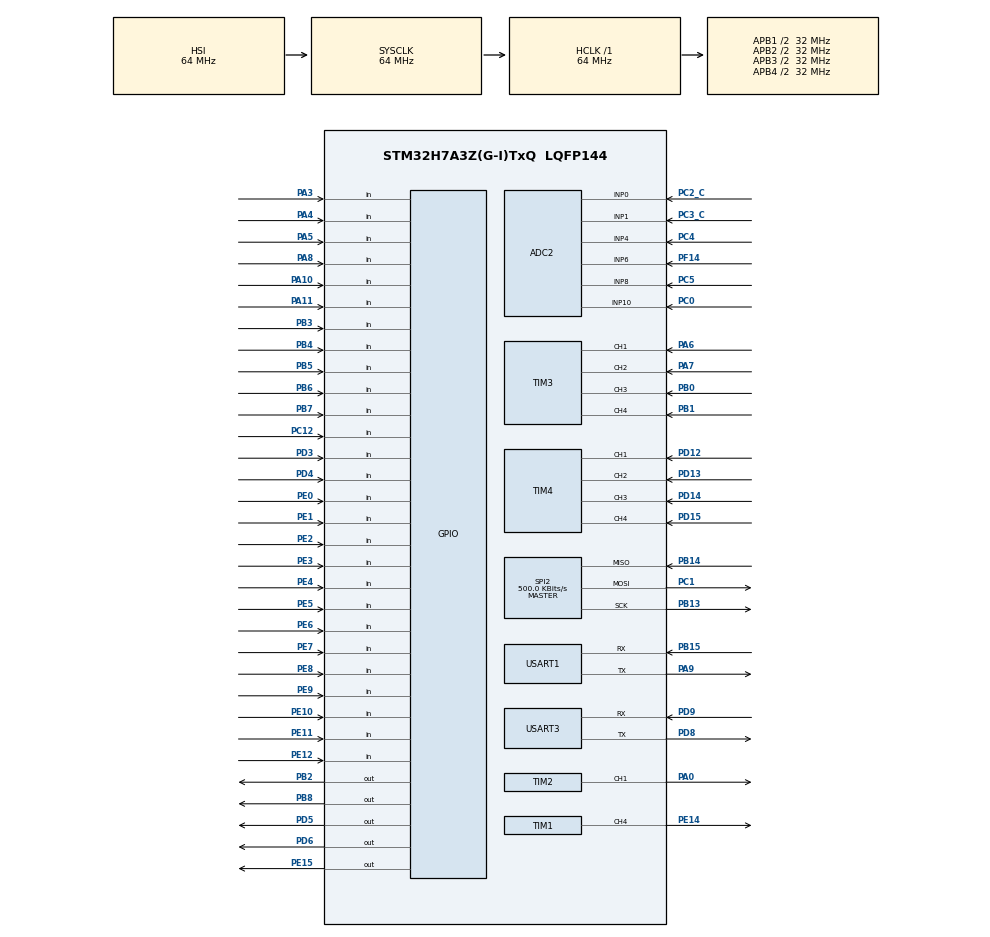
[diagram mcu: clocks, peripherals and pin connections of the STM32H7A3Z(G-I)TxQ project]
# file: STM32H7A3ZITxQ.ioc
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ADC2.Channel-0\#ChannelRegularConversion=ADC_CHANNEL_0
ADC2.NbrOfConversionFlag=1
ADC2.OffsetNumber-0\#ChannelRegularConversion=ADC_OFFSET_NONE
ADC2.OffsetSignedSaturation-0\#ChannelRegularConversion=DISABLE
ADC2.Rank-0\#ChannelRegularConversion=1
ADC2.SamplingTime-0\#ChannelRegularConversion=ADC_SAMPLETIME_1CYCLE_5
Mcu.Family=STM32H7
Mcu.Name=STM32H7A3Z(G-I)TxQ
Mcu.Package=LQFP144
NVIC.PriorityGroup=NVIC_PRIORITYGROUP_4
NVIC.TIM2_IRQn=true\:0\:0\:false\:false\:true\:true\:true
NVIC.TIM3_IRQn=true\:0\:0\:false\:false\:true\:true\:true
NVIC.TIM4_IRQn=true\:0\:0\:false\:false\:true\:true\:true
PA0.Signal=S_TIM2_CH1
PA10.Signal=GPIO_Input
PA11.Signal=GPIO_Input
PA13.Mode=Serial_Wire
PA13.Signal=DEBUG_JTMS-SWDIO
PA14.Mode=Serial_Wire
PA14.Signal=DEBUG_JTCK-SWCLK
PA3.Signal=GPIO_Input
PA4.Signal=GPIO_Input
PA5.Signal=GPIO_Input
PA6.Signal=S_TIM3_CH1
PA7.Signal=S_TIM3_CH2
PA8.Signal=GPIO_Input
PA9.Mode=Asynchronous
PA9.Signal=USART1_TX
PB0.Signal=S_TIM3_CH3
PB1.Signal=S_TIM3_CH4
PB13.GPIO_Speed=GPIO_SPEED_FREQ_HIGH
PB13.Mode=Full_Duplex_Master
PB13.Signal=SPI2_SCK
PB14.GPIO_Speed=GPIO_SPEED_FREQ_HIGH
PB14.Mode=Full_Duplex_Master
PB14.Signal=SPI2_MISO
PB15.Mode=Asynchronous
PB15.Signal=USART1_RX
PB2.Signal=GPIO_Output
PB3.Signal=GPIO_Input
PB4.Signal=GPIO_Input
PB5.Signal=GPIO_Input
PB6.Signal=GPIO_Input
PB7.Signal=GPIO_Input
PB8.Signal=GPIO_Output
PC0.Signal=ADCx_INP10
PC1.GPIO_Speed=GPIO_SPEED_FREQ_HIGH
PC1.Mode=Full_Duplex_Master
PC1.Signal=SPI2_MOSI
PC12.Signal=GPIO_Input
PC2_C.Mode=IN0-Single-Ended
PC2_C.Signal=ADC2_INP0
PC3_C.Mode=IN1-Single-Ended
PC3_C.Signal=ADC2_INP1
PC4.Signal=ADCx_INP4
PC5.Signal=ADCx_INP8
PD12.Signal=S_TIM4_CH1
PD13.Signal=S_TIM4_CH2
PD14.Signal=S_TIM4_CH3
PD15.Signal=S_TIM4_CH4
PD3.Signal=GPIO_Input
PD4.Signal=GPIO_Input
PD5.Signal=GPIO_Output
PD6.Signal=GPIO_Output
PD8.Mode=Asynchronous
PD8.Signal=USART3_TX
PD9.Mode=Asynchronous
PD9.Signal=USART3_RX
PE0.Signal=GPIO_Input
PE1.Signal=GPIO_Input
PE10.Signal=GPIO_Input
PE11.Signal=GPIO_Input
PE12.Signal=GPIO_Input
PE14.Signal=S_TIM1_CH4
PE15.Signal=GPIO_Output
PE2.Signal=GPIO_Input
PE3.Signal=GPIO_Input
PE4.Signal=GPIO_Input
PE5.Signal=GPIO_Input
PE6.Signal=GPIO_Input
PE7.Signal=GPIO_Input
PE8.Signal=GPIO_Input
PE9.Signal=GPIO_Input
PF14.Mode=IN6-Single-Ended
PF14.Signal=ADC2_INP6
ProjectManager.HeapSize=0x200
ProjectManager.StackSize=0x400
ProjectManager.TargetToolchain=EWARM V8.32
RCC.ADCFreq_Value=128000000
RCC.APB1Freq_Value=32000000
RCC.APB2Freq_Value=32000000
RCC.APB3Freq_Value=32000000
RCC.APB4Freq_Value=32000000
RCC.CDPPRE=RCC_APB3_DIV2
RCC.CDPPRE1=RCC_APB1_DIV2
RCC.CDPPRE2=RCC_APB2_DIV2
RCC.CortexFreq_Value=64000000
RCC.DIVM1=4
RCC.DIVM2=4
RCC.DIVN1=8
RCC.DIVN2=8
RCC.DIVP2=1
RCC.DIVQ1=1
RCC.HCLKFreq_Value=64000000
RCC.PLL2FRACN=0
RCC.PLLFRACN=0
RCC.SRDPPRE=RCC_APB4_DIV2
RCC.SYSCLKFreq_VALUE=64000000
RCC.USBFreq_Value=128000000
SH.ADCx_INP10.0=ADC2_INP10,IN10-Single-Ended
SH.ADCx_INP4.0=ADC2_INP4,IN4-Single-Ended
SH.ADCx_INP8.0=ADC2_INP8,IN8-Single-Ended
SH.S_TIM1_CH4.0=TIM1_CH4,PWM Generation4 CH4
SH.S_TIM2_CH1.0=TIM2_CH1,PWM Generation1 CH1
SH.S_TIM3_CH1.0=TIM3_CH1,Input_Capture1_from_TI1
SH.S_TIM3_CH2.0=TIM3_CH2,Input_Capture2_from_TI2
SH.S_TIM3_CH3.0=TIM3_CH3,Input_Capture3_from_TI3
SH.S_TIM3_CH4.0=TIM3_CH4,Input_Capture4_from_TI4
SH.S_TIM4_CH1.0=TIM4_CH1,Input_Capture1_from_TI1
SH.S_TIM4_CH2.0=TIM4_CH2,Input_Capture2_from_TI2
SH.S_TIM4_CH3.0=TIM4_CH3,Input_Capture3_from_TI3
SH.S_TIM4_CH4.0=TIM4_CH4,Input_Capture4_from_TI4
SPI2.BaudRatePrescaler=SPI_BAUDRATEPRESCALER_256
SPI2.CalculateBaudRate=500.0 KBits/s
SPI2.DataSize=SPI_DATASIZE_15BIT
SPI2.Direction=SPI_DIRECTION_2LINES
SPI2.Mode=SPI_MODE_MASTER
SPI2.VirtualType=VM_MASTER
TIM1.Channel-PWM\ Generation4\ CH4=TIM_CHANNEL_4
TIM1.Period=32
TIM1.Pulse-PWM\ Generation4\ CH4=16
TIM2.Channel-PWM\ Generation1\ CH1=TIM_CHANNEL_1
TIM2.Period=4000
TIM2.Pulse-PWM\ Generation1\ CH1=100
TIM3.Channel-Input_Capture1_from_TI1=TIM_CHANNEL_1
TIM3.Channel-Input_Capture2_from_TI2=TIM_CHANNEL_2
TIM3.Channel-Input_Capture3_from_TI3=TIM_CHANNEL_3
TIM3.Channel-Input_Capture4_from_TI4=TIM_CHANNEL_4
TIM4.Channel-Input_Capture1_from_TI1=TIM_CHANNEL_1
TIM4.Channel-Input_Capture2_from_TI2=TIM_CHANNEL_2
TIM4.Channel-Input_Capture3_from_TI3=TIM_CHANNEL_3
TIM4.Channel-Input_Capture4_from_TI4=TIM_CHANNEL_4
USART1.FIFOMode=FIFOMODE_ENABLE
USART1.RXFIFOThreshold=RXFIFO_THRESHOLD_FULL
USART1.TXFIFOThreshold=TXFIFO_THRESHOLD_EMPTY
USART1.VirtualMode-Asynchronous=VM_ASYNC
USART3.VirtualMode-Asynchronous=VM_ASYNC
VP_ADC2_TempSens_Input.Mode=IN-TempSens
VP_ADC2_Vbat_Input.Mode=IN-Vbat
VP_ADC2_Vref_Input.Mode=IN-Vrefint
VP_TIM6_VS_ClockSourceINT.Mode=Enable_Timer
board=custom

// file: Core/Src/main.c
/* USER CODE BEGIN Header */
/**
  ******************************************************************************
  * @file           : main.c
  * @brief          : Main program body
  ******************************************************************************
  * @attention
  *
  * <h2><center>&copy; Copyright (c) 2021 STMicroelectronics.
  * All rights reserved.</center></h2>
  *
  * This software component is licensed by ST under BSD 3-Clause license,
  * the "License"; You may not use this file except in compliance with the
  * License. You may obtain a copy of the License at:
  *                        opensource.org/licenses/BSD-3-Clause
  *
  ******************************************************************************
  */
#include <stdio.h>
#include <string.h>
#include <stdbool.h>
/* USER CODE END Header */
#include "main.h"

/* USER CODE BEGIN PD */

#define ECOMILK_DEBUG           0
#if ECOMILK_DEBUG == 1
  #define DEBUG_PRINT           printf
#else
  #define DEBUG_PRINT
#endif
#define ECOMILK_DEBUG_TIMEOUT   10
#define ECOMILK_TIMEOUT         ECOMILK_DEBUG_TIMEOUT
#define ECOMILK_CMD_ON          1
#define ECOMILK_CMD_OFF         0
//__EFF_NW1    __DEPREC_PRINTF int stub(char const *fmt, ...)
//{}
//#define printf                  stub
/* USER CODE END PD */

/* USER CODE BEGIN PM */

//Inputs
#define	ACTUATOR_BACKWARD_COM_PORT      GPIOE
#define	ACTUATOR_BACKWARD_COM_PIN       GPIO_PIN_12
#define	ACTUATOR_FORWARD_COM_PORT       GPIOE
#define	ACTUATOR_FORWARD_COM_PIN        GPIO_PIN_11
#define	ROTATE_CW_COM_PORT              GPIOE
#define	ROTATE_CW_COM_PIN               GPIO_PIN_10
#define	ROTATE_CCW_COM_PORT             GPIOE
#define	ROTATE_CCW_COM_PIN              GPIO_PIN_9
#define	TILT_CCW_COM_PORT               GPIOE
#define	TILT_CCW_COM_PIN                GPIO_PIN_8
#define	TILT_CW_COM_PORT                GPIOE
#define	TILT_CW_COM_PIN                 GPIO_PIN_7
#define	MOTOR_Z_DOWN_COM_PORT           GPIOE
#define	MOTOR_Z_DOWN_COM_PIN            GPIO_PIN_6
#define	MOTOR_Z_UP_COM_PORT             GPIOE
#define	MOTOR_Z_UP_COM_PIN              GPIO_PIN_5
#define	ACTUATOR_Y_BACKWARD_COM_PORT    GPIOE
#define	ACTUATOR_Y_BACKWARD_COM_PIN     GPIO_PIN_4
#define	ACTUATOR_Y_FORWARD_COM_PORT     GPIOE
#define	ACTUATOR_Y_FORWARD_COM_PIN      GPIO_PIN_3
#define	X_BACKWARD_COM_PORT             GPIOE
#define	X_BACKWARD_COM_PIN              GPIO_PIN_2
#define	X_FORWARD_COM_PORT              GPIOE
#define	X_FORWARD_COM_PIN               GPIO_PIN_1
#define	MOTOR_FAILURE_PORT              GPIOE
#define	MOTOR_FAILURE_PIN               GPIO_PIN_0

//Outputs
#define	CS_N_PORT                       GPIOB
#define	CS_N_PIN                        GPIO_PIN_8
#define	NSLEEP_RESET_PORT               GPIOB
#define	NSLEEP_RESET_PIN                GPIO_PIN_2
#define	MOT_M1_PORT                     GPIOD
#define	MOT_M1_PIN                      GPIO_PIN_6
#define	MOT_M0_PORT                     GPIOD
#define	MOT_M0_PIN                      GPIO_PIN_5
#define	RST2FPGA_PORT                   GPIOE
#define	RST2FPGA_PIN                    GPIO_PIN_15
#define	MOT_M1_PORT                     GPIOD
#define	MOT_M1_PIN                      GPIO_PIN_6
#define	MOT_M0_PORT                     GPIOD
#define	MOT_M0_PIN                      GPIO_PIN_5

#define DIR_MOTOR_Z                             0
#define DIR_MOTOR_TILT                          1
#define DIR_MOTOR_ROTATE                        2
#define DIR_MOTOR_X                             3
#define DIR_MOTOR_1                             4
#define DIR_MOTOR_2                             5
#define DIR_MOTOR_Y                             6
#define DIR_MOTOR_SP_1                          7
#define DIR_MOTOR_END_AFFECTO                   8
#define DIR_MOTOR_END_AFFECTO_A_1_2_3_4         9

#define LIN_MOTOR_Y                             0
#define LIN_MOTOR_SP_1                          1
#define LIN_MOTOR_END_AFFECTO                   2
#define LIN_MOTOR_END_AFFECTO_2                 3
#define LIN_MOTOR_END_AFFECTO_3                 4
#define LIN_MOTOR_END_AFFECTO_4                 5

#define DEC0                                    12
#define DEC1                                    13
#define DEC2                                    14

/* USER CODE END PM */

ADC_HandleTypeDef hadc2;

SPI_HandleTypeDef hspi2;

TIM_HandleTypeDef htim1;
TIM_HandleTypeDef htim2;
TIM_HandleTypeDef htim3;
TIM_HandleTypeDef htim4;
TIM_HandleTypeDef htim6;

UART_HandleTypeDef huart1;
UART_HandleTypeDef huart3;

/* USER CODE BEGIN PV */

int a_encoder_z_sp_drive = 0;
int b_encoder_z_sp_drive = 0;
int a_encoder_x_sp_drive = 0;
int b_encoder_x_sp_drive = 0;

int b_encoder_tilt_sp_drive = 0;
int a_encoder_rotate_sp_drive = 0;
int b_encoder_rotate_sp_drive = 0;
int a_encoder_tilt_sp_drive = 0;

char pool_rx[20];
int pool_rx_idx = 0;
//volatile bool pool_rx_start = false;
uint8_t ecomilk[] = {'\r', '\n', 'E', 'C', 'O', 'M', 'I', 'L', 'K', '\r', '\n'};

/* USER CODE END PV */

void SystemClock_Config(void);
static void MX_GPIO_Init(void);
static void MX_ADC2_Init(void);
static void MX_SPI2_Init(void);
static void MX_TIM1_Init(void);
static void MX_TIM2_Init(void);
static void MX_TIM3_Init(void);
static void MX_TIM4_Init(void);
static void MX_USART1_UART_Init(void);
static void MX_USART3_UART_Init(void);
static void MX_TIM6_Init(void);
/* USER CODE BEGIN PFP */

//#if ECOMILK_DEBUG == 1
static void Cmd_UART_Rx();
//#endif
static void Cmd_SPI_Tx_16(uint16_t cmd);
static void Cmd_Actuator_Backward(bool state);
static void Cmd_Actuator_Forward(bool state);
static void Cmd_Rotate_CW(bool state);
static void Cmd_Rotate_CCW(bool state);
static void Cmd_Tilt_CCW(bool state);
static void Cmd_Tilt_CW(bool state);
static void Cmd_Motor_Z_Down(bool state);
static void Cmd_Motor_Z_Up(bool state);
static void Cmd_Actuator_Y_Backward(bool state);
static void Cmd_Actuator_Y_Forward(bool state);
static void Cmd_X_Backward(bool state);
static void Cmd_X_Forward(bool state);

/* USER CODE END PFP */

/* USER CODE BEGIN 0 */
/**
  * @brief  PWM Pulse finished callback in non-blocking mode
  * @param  htim TIM handle
  * @retval None
  */
void HAL_TIM_PWM_PulseFinishedCallback(TIM_HandleTypeDef *htim)
{
  uint32_t ccr1 = TIM2->CCR1;
  if(htim->Instance == TIM2)
  {
    if(ccr1 < 2000)
      htim->Instance->CCR1 = ccr1 + 20;
    else
    {
      HAL_TIM_PWM_Stop_IT(&htim2, TIM_CHANNEL_1);
      HAL_TIM_PWM_Start(&htim2, TIM_CHANNEL_1);
    }
  }
}

/**
  * @brief  Input Capture callback in non-blocking mode
  * @param  htim TIM IC handle
  * @retval None
  */
void HAL_TIM_IC_CaptureCallback(TIM_HandleTypeDef *htim)
{
  if(htim->Instance == TIM3)
  {
    if(htim->Channel == HAL_TIM_ACTIVE_CHANNEL_1)
      a_encoder_z_sp_drive++;
    else if(htim->Channel == HAL_TIM_ACTIVE_CHANNEL_2)
      b_encoder_z_sp_drive++;
    else if(htim->Channel == HAL_TIM_ACTIVE_CHANNEL_3)
      a_encoder_x_sp_drive++;
    else if(htim->Channel == HAL_TIM_ACTIVE_CHANNEL_4)
      b_encoder_x_sp_drive++;
  }
  if(htim->Instance == TIM4)
  {
    if(htim->Channel == HAL_TIM_ACTIVE_CHANNEL_1)
      b_encoder_tilt_sp_drive++;
    else if(htim->Channel == HAL_TIM_ACTIVE_CHANNEL_2)
      a_encoder_rotate_sp_drive++;
    else if(htim->Channel == HAL_TIM_ACTIVE_CHANNEL_3)
      b_encoder_rotate_sp_drive++;
    else if(htim->Channel == HAL_TIM_ACTIVE_CHANNEL_4)
      a_encoder_tilt_sp_drive++;
  }
}

static void Cmd_Actuator_Backward(bool state)
{
  if(state)
  {
    Cmd_SPI_Tx_16(0x00 | (0x01 << DEC0));
    Cmd_SPI_Tx_16(0x00 | (0x01 << LIN_MOTOR_SP_1) | (0x01 << DEC0) | (0x01 << DEC1));
  }
    //Cmd_SPI_Tx_32(0x00, 0x00 | (0x01 << DEC0), 0x00 | (0x01 << LIN_MOTOR_SP_1), 0x00 | (0x01 << DEC0) | (0x01 << DEC1));
  else
    Cmd_SPI_Tx_16(0x00 | (0x01 << DEC0) | (0x01 << DEC1));
}

static void Cmd_Actuator_Forward(bool state)
{
  if(state)
  {
    Cmd_SPI_Tx_16(0x00 | (1 << DIR_MOTOR_SP_1) | (1 << DEC0));
    Cmd_SPI_Tx_16(0x00 | (1 << LIN_MOTOR_SP_1) | (1 << DEC0) | (1 << DEC1));
  }
    //Cmd_SPI_Tx_32(0x00, 0x00 | (1 << DIR_MOTOR_SP_1) | (0x01 << DEC0), 0x00 | (0x01 << LIN_MOTOR_SP_1), 0x00 | (0x01 << DEC0) | (0x01 << DEC1));
  else
    Cmd_SPI_Tx_16(0x00 | (1 << DEC0) | (1 << DEC1));
}

static void Cmd_Rotate_CW(bool state)
{
  if(state)
  {
    Cmd_SPI_Tx_16(0x00 | (1 << DIR_MOTOR_ROTATE) | (1 << DEC0));
    Cmd_SPI_Tx_16(0x00 | (1 << DIR_MOTOR_ROTATE) | (1 << DEC1));
  }
    //Cmd_SPI_Tx_32(0x00 | (1 << DIR_MOTOR_ROTATE), 0x00 | (1 << DEC0), 0x00 | (1 << DIR_MOTOR_ROTATE), 0x00 | (1 << DEC1));
  else
    Cmd_SPI_Tx_16(0x00 | (1 << DEC1));
}

static void Cmd_Rotate_CCW(bool state)
{
  if(state)
  {
    Cmd_SPI_Tx_16(0x00 | (1 << DEC0));
    Cmd_SPI_Tx_16(0x00 | (1 << DIR_MOTOR_ROTATE) | (1 << DEC1));
  }
    //Cmd_SPI_Tx_32(0x00, 0x00 | (1 << DEC0), 0x00 | (1 << DIR_MOTOR_ROTATE), 0x00 | (1 << DEC1));
  else
    Cmd_SPI_Tx_16(0x00 | (1 << DEC1));
}

static void Cmd_Tilt_CCW(bool state)
{
  if(state)
  {
    Cmd_SPI_Tx_16(0x00 | (1 << DEC0));
    Cmd_SPI_Tx_16(0x00 | (1 << DIR_MOTOR_TILT) | (1 << DEC1));
  }
    //Cmd_SPI_Tx_32(0x00, 0x00 | (1 << DEC0), 0x00 | (1 << DIR_MOTOR_TILT), 0x00 | (1 << DEC1));
  else
    Cmd_SPI_Tx_16(0x00 | (1 << DEC1));
}

static void Cmd_Tilt_CW(bool state)
{
  if(state)
  {
    Cmd_SPI_Tx_16(0x00 | (1 << DIR_MOTOR_TILT) | (1 << DEC0));
    Cmd_SPI_Tx_16(0x00 | (1 << DIR_MOTOR_TILT) | (1 << DEC1));
  }
    //Cmd_SPI_Tx_32(0x00 | (1 << DIR_MOTOR_TILT), 0x00 | (1 << DEC0), 0x00 | (1 << DIR_MOTOR_TILT), 0x00 | (1 << DEC1));
  else
    Cmd_SPI_Tx_16(0x00 | (1 << DEC1));
}

static void Cmd_Motor_Z_Down(bool state)
{
  if(state)
  {
    Cmd_SPI_Tx_16(0x00 | (1 << DEC0));
    Cmd_SPI_Tx_16(0x00 | (1 << DIR_MOTOR_Z) | (1 << DEC1));
  }
    //Cmd_SPI_Tx_32(0x00, 0x00 | (1 << DEC0), 0x00 | (1 << DIR_MOTOR_Z), 0x00 | (1 << DEC1));
  else
    Cmd_SPI_Tx_16(0x00 | (1 << DEC1));
}

static void Cmd_Motor_Z_Up(bool state)
{
  if(state)
  {
    Cmd_SPI_Tx_16(0x00 | (1 << DIR_MOTOR_Z) | (1 << DEC0));
    Cmd_SPI_Tx_16(0x00 | (1 << DIR_MOTOR_Z) | (1 << DEC1));
  }
    //Cmd_SPI_Tx_32(0x00 | (1 << DIR_MOTOR_Z), 0x00 | (1 << DEC0), 0x00 | (1 << DIR_MOTOR_Z), 0x00 | (1 << DEC1));
  else
    Cmd_SPI_Tx_16(0x00 | (1 << DEC1));
}

static void Cmd_Actuator_Y_Backward(bool state)
{
  //HAL_GPIO_WritePin(RST2FPGA_PORT, RST2FPGA_PIN, GPIO_PIN_SET);
  if(state)
  {
    Cmd_SPI_Tx_16(0x00 | (1 << DEC0));
    Cmd_SPI_Tx_16(0x00 | (1 << LIN_MOTOR_Y) | (1 << DEC0) | (1 << DEC1));
  }
    //Cmd_SPI_Tx_32(0x00, 0x00 | (1 << DEC0), 0x00 | (1 << LIN_MOTOR_Y), 0x00 | (1 << DEC0) | (1 << DEC1));
  else
    Cmd_SPI_Tx_16(0x00 | (1 << DEC0) | (1 << DEC1));
}

static void Cmd_Actuator_Y_Forward(bool state)
{
  //HAL_GPIO_WritePin(RST2FPGA_PORT, RST2FPGA_PIN, GPIO_PIN_SET);
  if(state)
  {
    Cmd_SPI_Tx_16(0x00 | (1 << DIR_MOTOR_Y) | (1 << DEC0));
    Cmd_SPI_Tx_16(0x00 | (1 << LIN_MOTOR_Y) | (1 << DEC0) | (1 << DEC1));
  }
    //Cmd_SPI_Tx_32(0x00 | (1 << DIR_MOTOR_Y), 0x00 | (1 << DEC0), 0x00 | (1 << LIN_MOTOR_Y), 0x00 | (1 << DEC0) | (1 << DEC1));
  else
    Cmd_SPI_Tx_16(0x00 | (1 << DEC0) | (1 << DEC1));
}

static void Cmd_X_Backward(bool state)
{
  if(state)
  {
    Cmd_SPI_Tx_16(0x00 | (1 << DEC0));
    Cmd_SPI_Tx_16(0x00 | (1 << DIR_MOTOR_X) | (1 << DEC1));
  }
    //Cmd_SPI_Tx_32(0x00, 0x00 | (1 << DEC0), 0x00 | (1 << DIR_MOTOR_X), 0x00 | (1 << DEC1));
  else
    Cmd_SPI_Tx_16(0x00 | (1 << DEC1));
}

static void Cmd_X_Forward(bool state)
{
  if(state)
  {
    Cmd_SPI_Tx_16(0x00 | (1 << DIR_MOTOR_X) | (1 << DEC0));
    Cmd_SPI_Tx_16(0x00 | (1 << DIR_MOTOR_X) | (1 << DEC1));
  }
    //Cmd_SPI_Tx_32(0x00 | (1 << DIR_MOTOR_X), 0x00 | (1 << DEC0), 0x00 | (1 << DIR_MOTOR_X), 0x00 | (1 << DEC1));
  else
    Cmd_SPI_Tx_16(0x00 | (1 << DEC1));
}

static void Cmd_SPI_Tx_16(uint16_t cmd)
{
  uint16_t data = 0;
#if ECOMILK_DEBUG == 1
  uint16_t rdata = 0;
#endif
  //data = (((0x00ff & cmd) << 8) | ((0xff00 & cmd) >> 8));
  data = cmd;
  HAL_GPIO_WritePin(CS_N_PORT, CS_N_PIN, GPIO_PIN_RESET);
#if ECOMILK_DEBUG == 1
  HAL_SPI_TransmitReceive(&hspi2, (uint8_t*)&data, (uint8_t*)&rdata, 1, ECOMILK_TIMEOUT);
  if(rdata != data)
    DEBUG_PRINT("SPI not recieved\n");
#else
  HAL_SPI_Transmit(&hspi2, (uint8_t*)&data, 1, ECOMILK_TIMEOUT);
#endif
  HAL_GPIO_WritePin(CS_N_PORT, CS_N_PIN, GPIO_PIN_SET);
}

//#if ECOMILK_DEBUG == 1
//void HAL_UART_RxCpltCallback(UART_HandleTypeDef *huart)
//{
//  pool_rx_start = true;
//}

static void pool_rx_init()
{
  //if(cmd != null)
  //{
  //  HAL_UART_Transmit(&huart1, (uint8_t*)cmd, sizeof(cmd), ECOMILK_TIMEOUT);
  //  uint8_t done[] = {' ', ' ', ' ', '.', '.', '.', ' ', ' ', ' ', 'd', 'o', 'n', 'e', '\r', '\n'};
  //  HAL_UART_Transmit(&huart1, done, sizeof(done), ECOMILK_TIMEOUT);
  //}
  pool_rx_idx = 0;
  memset(pool_rx, 0, sizeof(pool_rx));
  //pool_rx_start = false;
  //HAL_UART_Receive_DMA(&huart1, (uint8_t*)pool_rx, sizeof(pool_rx));
}

static void Cmd_UART_Rx()
{
  uint8_t ch = 0;
  HAL_StatusTypeDef status;
  static bool ucommand = false;
  //HAL_UART_Transmit(&huart1, &pDataTx[pool_rx_idx], 1, ECOMILK_TIMEOUT);
  status = HAL_UART_Receive(&huart1, &ch, 1, ECOMILK_TIMEOUT);
  if(status == HAL_OK)
  //if(pool_rx_start)
  {
    pool_rx[pool_rx_idx] = ch;
    //while(true)
    //{
    //ch = pool_rx[pool_rx_idx];
    if(ch == '\b')
    {
      pool_rx[pool_rx_idx] = '\0';
      pool_rx_idx--;
      if(pool_rx_idx < 0)
        pool_rx_idx = 0;
      pool_rx[pool_rx_idx] = '\0';
    }
    else if(ch == '\r')
    {
      ch = '\n';
      HAL_UART_Transmit(&huart1, &ch, 1, ECOMILK_TIMEOUT);
      pool_rx[pool_rx_idx] = '\0';

      ucommand = false;
      if(strcmp(pool_rx, "ecomilkid") == 0)
        HAL_UART_Transmit(&huart1, ecomilk, sizeof(ecomilk), ECOMILK_TIMEOUT);

      else if(strcmp(pool_rx, "ab 1") == 0)
        Cmd_Actuator_Backward(1);
      else if(strcmp(pool_rx, "ab 0") == 0)
        Cmd_Actuator_Backward(0);

      else if(strcmp(pool_rx, "af 1") == 0)
        Cmd_Actuator_Forward(1);
      else if(strcmp(pool_rx, "af 0") == 0)
        Cmd_Actuator_Forward(0);

      else if(strcmp(pool_rx, "rcw 1") == 0)
        Cmd_Rotate_CW(1);
      else if(strcmp(pool_rx, "rcw 0") == 0)
        Cmd_Rotate_CW(0);

      else if(strcmp(pool_rx, "rccw 1") == 0)
        Cmd_Rotate_CCW(1);
      else if(strcmp(pool_rx, "rccw 0") == 0)
        Cmd_Rotate_CCW(0);

      else if(strcmp(pool_rx, "tccw 1") == 0)
        Cmd_Tilt_CCW(1);
      else if(strcmp(pool_rx, "tccw 0") == 0)
        Cmd_Tilt_CCW(0);

      else if(strcmp(pool_rx, "tcw 1") == 0)
        Cmd_Tilt_CW(1);
      else if(strcmp(pool_rx, "tcw 0") == 0)
        Cmd_Tilt_CW(0);

      else if(strcmp(pool_rx, "mzd 1") == 0)
        Cmd_Motor_Z_Down(1);
      else if(strcmp(pool_rx, "mzd 0") == 0)
        Cmd_Motor_Z_Down(0);

      else if(strcmp(pool_rx, "mzu 1") == 0)
        Cmd_Motor_Z_Up(1);
      else if(strcmp(pool_rx, "mzu 0") == 0)
        Cmd_Motor_Z_Up(0);

      else if(strcmp(pool_rx, "ayb 1") == 0)
        Cmd_Actuator_Y_Backward(1);
      else if(strcmp(pool_rx, "ayb 0") == 0)
        Cmd_Actuator_Y_Backward(0);

      else if(strcmp(pool_rx, "ayf 1") == 0)
        Cmd_Actuator_Y_Forward(1);
      else if(strcmp(pool_rx, "ayf 0") == 0)
        Cmd_Actuator_Y_Forward(0);

      else if(strcmp(pool_rx, "xb 1") == 0)
        Cmd_X_Backward(1);
      else if(strcmp(pool_rx, "xb 0") == 0)
        Cmd_X_Backward(0);

      else if(strcmp(pool_rx, "xf 1") == 0)
        Cmd_X_Forward(1);
      else if(strcmp(pool_rx, "xf 0") == 0)
        Cmd_X_Forward(0);
      else
      {
        ucommand = true;
        HAL_UART_Transmit(&huart1, (uint8_t*)pool_rx, sizeof(pool_rx), ECOMILK_TIMEOUT);
        uint8_t unknown_command[] = {' ', ' ', ' ', '.', '.', '.', ' ', ' ', ' ', 'u', 'n', 'k', 'n', 'o', 'w', 'n', ' ', 'c', 'o', 'm', 'm', 'a', 'n', 'd', '\r', '\n'};
        HAL_UART_Transmit(&huart1, unknown_command, sizeof(unknown_command), ECOMILK_TIMEOUT);
      }
      if(!ucommand)
      {
        HAL_UART_Transmit(&huart1, (uint8_t*)pool_rx, sizeof(pool_rx), ECOMILK_TIMEOUT);
        uint8_t done[] = {' ', ' ', ' ', '.', '.', '.', ' ', ' ', ' ', 'd', 'o', 'n', 'e', '\r', '\n'};
        HAL_UART_Transmit(&huart1, done, sizeof(done), ECOMILK_TIMEOUT);
      }

      pool_rx_init();
    }
    else
    {
      pool_rx_idx++;
      if(pool_rx_idx >= sizeof(pool_rx))
      {
        pool_rx_init();
        //break;
      }
    }
    //}
  }
}
//#endif

/* USER CODE END 0 */

int main(void)
{

  /* MCU Configuration--------------------------------------------------------*/

  /* Reset of all peripherals, Initializes the Flash interface and the Systick. */
  HAL_Init();

  /* Configure the system clock */
  SystemClock_Config();

  /* Initialize all configured peripherals */
  MX_GPIO_Init();
  MX_ADC2_Init();
  MX_SPI2_Init();
  MX_TIM1_Init();
  MX_TIM2_Init();
  MX_TIM3_Init();
  MX_TIM4_Init();
  MX_USART1_UART_Init();
  MX_USART3_UART_Init();
  MX_TIM6_Init();
  /* USER CODE BEGIN 2 */

//#if ECOMILK_DEBUG == 1
  //uint8_t pDataTx[] = {'\r', '\n', 'E', 'c', 'o', 'M', 'i', 'l', 'k', '\r', '\n'};
  //uint8_t pDataRx[10];

  //HAL_UART_ReceiverTimeout_Config(&huart1, ECOMILK_TIMEOUT);
  //HAL_UART_EnableReceiverTimeout(&huart1);

  //memset(pool_rx, 0, sizeof(pool_rx));
  //HAL_UART_Transmit(&huart1, pDataTx, sizeof(pDataTx), ECOMILK_TIMEOUT);
  pool_rx_init();
  HAL_UART_Transmit(&huart1, ecomilk, sizeof(ecomilk), ECOMILK_TIMEOUT);
//#endif

  HAL_GPIO_WritePin(CS_N_PORT, CS_N_PIN, GPIO_PIN_SET);
  HAL_TIM_IC_Start_IT(&htim3, TIM_CHANNEL_1);
  HAL_TIM_IC_Start_IT(&htim3, TIM_CHANNEL_2);
  HAL_TIM_IC_Start_IT(&htim3, TIM_CHANNEL_3);
  HAL_TIM_IC_Start_IT(&htim3, TIM_CHANNEL_4);
  HAL_TIM_IC_Start_IT(&htim4, TIM_CHANNEL_1);
  HAL_TIM_IC_Start_IT(&htim4, TIM_CHANNEL_2);
  HAL_TIM_IC_Start_IT(&htim4, TIM_CHANNEL_3);
  HAL_TIM_IC_Start_IT(&htim4, TIM_CHANNEL_4);
  HAL_TIM_PWM_Start(&htim1, TIM_CHANNEL_4);
  HAL_TIM_PWM_Start_IT(&htim2, TIM_CHANNEL_1);
  HAL_TIM_Base_Start(&htim6);
  HAL_GPIO_WritePin(NSLEEP_RESET_PORT, NSLEEP_RESET_PIN, GPIO_PIN_SET);
  HAL_GPIO_WritePin(RST2FPGA_PORT, RST2FPGA_PIN, GPIO_PIN_RESET);
  HAL_GPIO_WritePin(MOT_M1_PORT, MOT_M1_PIN, GPIO_PIN_RESET);
  HAL_GPIO_WritePin(MOT_M0_PORT, MOT_M0_PIN, GPIO_PIN_RESET);

  /* USER CODE END 2 */

  /* Infinite loop */
  /* USER CODE BEGIN WHILE */

  int cnt_begin = htim6.Instance->CNT;
  bool cnt_read = true;
  int cnt_current = htim6.Instance->CNT;
  bool actuator_backward = false;
  bool actuator_forward = false;
  bool rotate_cw = false;
  bool rotate_ccw = false;
  bool tilt_ccw = false;
  bool tilt_cw = false;
  bool motor_z_down = false;
  bool motor_z_up = false;
  bool actuator_y_backward = false;
  bool actuator_y_forward = false;
  bool x_backward = false;
  bool x_forward = false;

  while (1)
  {
    if(HAL_GPIO_ReadPin(MOTOR_FAILURE_PORT, MOTOR_FAILURE_PIN) == GPIO_PIN_RESET)
      HAL_GPIO_WritePin(NSLEEP_RESET_PORT, NSLEEP_RESET_PIN, GPIO_PIN_RESET);
    else
      HAL_GPIO_WritePin(NSLEEP_RESET_PORT, NSLEEP_RESET_PIN, GPIO_PIN_SET);

    if(cnt_read)
    {
      cnt_current = htim6.Instance->CNT;
      if((cnt_current - cnt_begin) > 64000)
      {
        cnt_read = false;
        //HAL_TIM_Base_Stop(&htim6);
        HAL_GPIO_WritePin(RST2FPGA_PORT, RST2FPGA_PIN, GPIO_PIN_RESET);
      }
    }

    // 1, 2
#if ECOMILK_DEBUG == 0
    if(HAL_GPIO_ReadPin(ACTUATOR_BACKWARD_COM_PORT, ACTUATOR_BACKWARD_COM_PIN) == GPIO_PIN_SET)
#endif
    {
      if(!actuator_backward)
      {
        actuator_backward = true;
        //Cmd_SPI_Tx_32(0x00, 0x00 | (0x01 << DEC0), 0x00 | (0x01 << LIN_MOTOR_SP_1), 0x00 | (0x01 << DEC0) | (0x01 << DEC1));
        Cmd_Actuator_Backward(ECOMILK_CMD_ON);
      }
    }
#if ECOMILK_DEBUG == 0
    else
#endif
    {
      if(actuator_backward)
      {
        actuator_backward = false;
        //Cmd_SPI_Tx_16(0x00, 0x00 | (0x01 << DEC0) | (0x01 << DEC1));
        Cmd_Actuator_Backward(ECOMILK_CMD_OFF);
      }
    }

    // 3, 4
#if ECOMILK_DEBUG == 0
    if(HAL_GPIO_ReadPin(ACTUATOR_FORWARD_COM_PORT, ACTUATOR_FORWARD_COM_PIN) == GPIO_PIN_SET)
#endif
    {
      if(!actuator_forward)
      {
        actuator_forward = true;
        //Cmd_SPI_Tx_32(0x00, 0x00 | (1 << DIR_MOTOR_SP_1) | (1 << DEC0), 0x00 | (1 << LIN_MOTOR_SP_1), 0x00 | (1 << DEC0) | (1 << DEC1));
        Cmd_Actuator_Forward(ECOMILK_CMD_ON);
      }
    }
#if ECOMILK_DEBUG == 0
    else
#endif
    {
      if(actuator_forward)
      {
        actuator_forward = false;
        //Cmd_SPI_Tx_16(0x00 ,0x00 | (1 << DEC0) | (1 << DEC1));
        Cmd_Actuator_Forward(ECOMILK_CMD_OFF);
      }
    }

    // 5, 6
#if ECOMILK_DEBUG == 0
    if(HAL_GPIO_ReadPin(ROTATE_CW_COM_PORT, ROTATE_CW_COM_PIN) == GPIO_PIN_SET)
#endif
    {
      if(!rotate_cw)
      {
        rotate_cw = true;
        //Cmd_SPI_Tx_32(0x00 | (1 << DIR_MOTOR_ROTATE), 0x00 | (1 << DEC0), 0x00 | (1 << DIR_MOTOR_ROTATE), 0x00 | (1 << DEC1));
        Cmd_Rotate_CW(ECOMILK_CMD_ON);
      }
    }
#if ECOMILK_DEBUG == 0
    else
#endif
    {
      if(rotate_cw)
      {
        rotate_cw = false;
        //Cmd_SPI_Tx_16(0x00, 0x00 | (1 << DEC1));
        Cmd_Rotate_CW(ECOMILK_CMD_OFF);
      }
    }

    // 7, 8
#if ECOMILK_DEBUG == 0
    if(HAL_GPIO_ReadPin(ROTATE_CCW_COM_PORT, ROTATE_CCW_COM_PIN) == GPIO_PIN_SET)
#endif
    {
      if(!rotate_ccw)
      {
        rotate_ccw = true;
        //Cmd_SPI_Tx_32(0x00, 0x00 | (1 << DEC0), 0x00 | (1 << DIR_MOTOR_ROTATE), 0x00 | (1 << DEC1));
        Cmd_Rotate_CCW(ECOMILK_CMD_ON);
      }
    }
#if ECOMILK_DEBUG == 0
    else
#endif
    {
      if(rotate_ccw)
      {
        rotate_ccw = false;
        //Cmd_SPI_Tx_16(0x00, 0x00 | (1 << DEC1));
        Cmd_Rotate_CCW(ECOMILK_CMD_OFF);
      }
    }

    // 9, 10
#if ECOMILK_DEBUG == 0
    if(HAL_GPIO_ReadPin(TILT_CCW_COM_PORT, TILT_CCW_COM_PIN) == GPIO_PIN_SET)
#endif
    {
      if(!tilt_ccw)
      {
        tilt_ccw = true;
        //Cmd_SPI_Tx_32(0x00, 0x00 | (1 << DEC0), 0x00 | (1 << DIR_MOTOR_TILT), 0x00 | (1 << DEC1));
        Cmd_Tilt_CCW(ECOMILK_CMD_ON);
      }
    }
#if ECOMILK_DEBUG == 0
    else
#endif
    {
      if(tilt_ccw)
      {
        tilt_ccw = false;
        //Cmd_SPI_Tx_16(0x00, 0x00 | (1 << DEC1));
        Cmd_Tilt_CCW(ECOMILK_CMD_OFF);
      }
    }

    // 11, 12
#if ECOMILK_DEBUG == 0
    if(HAL_GPIO_ReadPin(TILT_CW_COM_PORT, TILT_CW_COM_PIN) == GPIO_PIN_SET)
#endif
    {
      if(!tilt_cw)
      {
        tilt_cw = true;
        //Cmd_SPI_Tx_32(0x00 | (1 << DIR_MOTOR_TILT), 0x00 | (1 << DEC0), 0x00 | (1 << DIR_MOTOR_TILT), 0x00 | (1 << DEC1));
        Cmd_Tilt_CW(ECOMILK_CMD_ON);
      }
    }
#if ECOMILK_DEBUG == 0
    else
#endif
    {
      if(tilt_cw)
      {
        tilt_cw = false;
        //Cmd_SPI_Tx_16(0x00, 0x00 | (1 << DEC1));
        Cmd_Tilt_CW(ECOMILK_CMD_OFF);
      }
    }
    // 13, 14
#if ECOMILK_DEBUG == 0
    if(HAL_GPIO_ReadPin(MOTOR_Z_DOWN_COM_PORT, MOTOR_Z_DOWN_COM_PIN) == GPIO_PIN_SET)
#endif
    {
      if(!motor_z_down)
      {
        motor_z_down = true;
        //Cmd_SPI_Tx_32(0x00, 0x00 | (1 << DEC0), 0x00 | (1 << DIR_MOTOR_Z), 0x00 | (1 << DEC1));
        Cmd_Motor_Z_Down(ECOMILK_CMD_ON);
      }
    }
#if ECOMILK_DEBUG == 0
    else
#endif
    {
      if(motor_z_down)
      {
        motor_z_down = false;
        //Cmd_SPI_Tx_16(0x00, 0x00 | (1 << DEC1));
        Cmd_Motor_Z_Down(ECOMILK_CMD_OFF);
      }
    }

    // 15, 16
#if ECOMILK_DEBUG == 0
    if(HAL_GPIO_ReadPin(MOTOR_Z_UP_COM_PORT, MOTOR_Z_UP_COM_PIN) == GPIO_PIN_SET)
#endif
    {
      if(!motor_z_up)
      {
        motor_z_up = true;
        //Cmd_SPI_Tx_32(0x00 | (1 << DIR_MOTOR_Z), 0x00 | (1 << DEC0), 0x00 | (1 << DIR_MOTOR_Z), 0x00 | (1 << DEC1));
        Cmd_Motor_Z_Up(ECOMILK_CMD_ON);
      }
    }
#if ECOMILK_DEBUG == 0
    else
#endif
    {
      if(motor_z_up)
      {
        motor_z_up = false;
        //Cmd_SPI_Tx_16(0x00, 0x00 | (1 << DEC1));
        Cmd_Motor_Z_Up(ECOMILK_CMD_OFF);
      }
    }

    // 17, 18
#if ECOMILK_DEBUG == 0
    if(HAL_GPIO_ReadPin(ACTUATOR_Y_BACKWARD_COM_PORT, ACTUATOR_Y_BACKWARD_COM_PIN) == GPIO_PIN_SET)
#endif
    {
      if(!actuator_y_backward)
      {
        actuator_y_backward = true;
        //Cmd_SPI_Tx_32(0x00, 0x00 | (1 << DEC0), 0x00 | (1 << LIN_MOTOR_Y), 0x00 | (1 << DEC0) | (1 << DEC1));
        Cmd_Actuator_Y_Backward(ECOMILK_CMD_ON);
      }
    }
#if ECOMILK_DEBUG == 0
    else
#endif
    {
      if(actuator_y_backward)
      {
        actuator_y_backward = false;
        //Cmd_SPI_Tx_16(0x00, 0x00 | (1 << DEC0) | (1 << DEC1));
        Cmd_Actuator_Y_Backward(ECOMILK_CMD_OFF);
      }
    }

    // 19, 20
#if ECOMILK_DEBUG == 0
    if(HAL_GPIO_ReadPin(ACTUATOR_Y_FORWARD_COM_PORT, ACTUATOR_Y_FORWARD_COM_PIN) == GPIO_PIN_SET)
#endif
    {
      if(!actuator_y_forward)
      {
        actuator_y_forward = true;
        //Cmd_SPI_Tx_32(0x00 | (1 << DIR_MOTOR_Y), 0x00 | (1 << DEC0), 0x00 | (1 << LIN_MOTOR_Y), 0x00 | (1 << DEC0) | (1 << DEC1));
        Cmd_Actuator_Y_Forward(ECOMILK_CMD_ON);
      }
    }
#if ECOMILK_DEBUG == 0
    else
#endif
    {
      if(actuator_y_forward)
      {
        actuator_y_forward = false;
        //Cmd_SPI_Tx_16(0x00, 0x00 | (1 << DEC0) | (1 << DEC1));
        Cmd_Actuator_Y_Forward(ECOMILK_CMD_OFF);
      }
    }

    // 21, 22
#if ECOMILK_DEBUG == 0
    if(HAL_GPIO_ReadPin(X_BACKWARD_COM_PORT, X_BACKWARD_COM_PIN) == GPIO_PIN_SET)
#endif
    {
      if(!x_backward)
      {
        x_backward = true;
        //Cmd_SPI_Tx_32(0x00, 0x00 | (1 << DEC0), 0x00 | (1 << DIR_MOTOR_X), 0x00 | (1 << DEC1));
        Cmd_X_Backward(ECOMILK_CMD_ON);
      }
    }
#if ECOMILK_DEBUG == 0
    else
#endif
    {
      if(x_backward)
      {
        x_backward = false;
        //Cmd_SPI_Tx_16(0x00, 0x00 | (1 << DEC1));
        Cmd_X_Backward(ECOMILK_CMD_OFF);
      }
    }

    // 23, 24
#if ECOMILK_DEBUG == 0
    if(HAL_GPIO_ReadPin(X_FORWARD_COM_PORT, X_FORWARD_COM_PIN) == GPIO_PIN_SET)
#endif
    {
      if(!x_forward)
      {
        x_forward = true;
        //Cmd_SPI_Tx_32(0x00 | (1 << DIR_MOTOR_X), 0x00 | (1 << DEC0), 0x00 | (1 << DIR_MOTOR_X), 0x00 | (1 << DEC1));
        Cmd_X_Forward(ECOMILK_CMD_ON);
      }
    }
#if ECOMILK_DEBUG == 0
    else
#endif
    {
      if(x_forward)
      {
        x_forward = false;
        //Cmd_SPI_Tx_16(0x00, 0x00 | (1 << DEC1));
        Cmd_X_Forward(ECOMILK_CMD_OFF);
      }
    }

    //cnt_current = htim6.Instance->CNT;
    //int delta = cnt_current - cnt_begin;
    //if(cnt_current <= cnt_begin)
    //  delta += 65535;
    //if(delta % 64000)
    //  HAL_UART_Transmit(&huart1, ecomilk, sizeof(ecomilk), ECOMILK_TIMEOUT);

    Cmd_UART_Rx();

#if ECOMILK_DEBUG == 1

    //for(int i = 0; i < 1000; i++);

    // Working
    //{
    //  memset(pDataRx, 0, sizeof(pDataRx));
    //  for(int i = 0; i < 10; i++)
    //  {
    //    HAL_UART_Transmit(&huart3, &pDataTx[i], 1, ECOMILK_TIMEOUT);
    //    HAL_UART_Receive(&huart3, &pDataRx[i], 1, ECOMILK_TIMEOUT);
    //  }
    //
    //  memset(pDataRx, 0, sizeof(pDataRx));
    //  HAL_SPI_TransmitReceive(&hspi2, pDataTx, pDataRx, sizeof(pDataTx), ECOMILK_TIMEOUT);
    //}

    //Not working
    //{
    //  memset(pDataRx, 0, sizeof(pDataRx));
    //  for(int i = 0; i < 10; i++)
    //  {
    //    HAL_SPI_Transmit(&hspi2, &pDataTx[i], 1, ECOMILK_TIMEOUT);
    //    HAL_SPI_Receive(&hspi2, &pDataRx[i], 1, ECOMILK_TIMEOUT);
    //  }
    //
    //  memset(pDataRx, 0, sizeof(pDataRx));
    //  HAL_SPI_Transmit(&hspi2, pDataTx, sizeof(pDataTx), ECOMILK_TIMEOUT);
    //  HAL_SPI_Receive(&hspi2, pDataRx, sizeof(pDataRx), ECOMILK_TIMEOUT);
    //
    //  memset(pDataRx, 0, sizeof(pDataRx));
    //  HAL_UART_Transmit(&huart1, pDataTx, sizeof(pDataTx), ECOMILK_TIMEOUT);
    //  HAL_UART_Receive(&huart1, pDataRx, sizeof(pDataRx), ECOMILK_TIMEOUT);
    //
    //  memset(pDataRx, 0, sizeof(pDataRx));
    //  HAL_UART_Transmit(&huart3, pDataTx, sizeof(pDataTx), ECOMILK_TIMEOUT);
    //  HAL_UART_Receive(&huart3, pDataRx, sizeof(pDataRx), ECOMILK_TIMEOUT);
    //}
#endif

    /* USER CODE END WHILE */

  }
}

void SystemClock_Config(void)
{
  RCC_OscInitTypeDef RCC_OscInitStruct = {0};
  RCC_ClkInitTypeDef RCC_ClkInitStruct = {0};

  /** Supply configuration update enable
  */
  HAL_PWREx_ConfigSupply(PWR_DIRECT_SMPS_SUPPLY);
  /** Configure the main internal regulator output voltage
  */
  __HAL_PWR_VOLTAGESCALING_CONFIG(PWR_REGULATOR_VOLTAGE_SCALE3);

  while(!__HAL_PWR_GET_FLAG(PWR_FLAG_VOSRDY)) {}
  /** Macro to configure the PLL clock source
  */
  __HAL_RCC_PLL_PLLSOURCE_CONFIG(RCC_PLLSOURCE_HSI);
  /** Initializes the RCC Oscillators according to the specified parameters
  * in the RCC_OscInitTypeDef structure.
  */
  RCC_OscInitStruct.OscillatorType = RCC_OSCILLATORTYPE_HSI;
  RCC_OscInitStruct.HSIState = RCC_HSI_DIV1;
  RCC_OscInitStruct.HSICalibrationValue = RCC_HSICALIBRATION_DEFAULT;
  RCC_OscInitStruct.PLL.PLLState = RCC_PLL_ON;
  RCC_OscInitStruct.PLL.PLLSource = RCC_PLLSOURCE_HSI;
  RCC_OscInitStruct.PLL.PLLM = 4;
  RCC_OscInitStruct.PLL.PLLN = 8;
  RCC_OscInitStruct.PLL.PLLP = 2;
  RCC_OscInitStruct.PLL.PLLQ = 1;
  RCC_OscInitStruct.PLL.PLLR = 2;
  RCC_OscInitStruct.PLL.PLLRGE = RCC_PLL1VCIRANGE_3;
  RCC_OscInitStruct.PLL.PLLVCOSEL = RCC_PLL1VCOWIDE;
  RCC_OscInitStruct.PLL.PLLFRACN = 0;
  if (HAL_RCC_OscConfig(&RCC_OscInitStruct) != HAL_OK)
  {
    Error_Handler();
  }
  /** Initializes the CPU, AHB and APB buses clocks
  */
  RCC_ClkInitStruct.ClockType = RCC_CLOCKTYPE_HCLK|RCC_CLOCKTYPE_SYSCLK
                              |RCC_CLOCKTYPE_PCLK1|RCC_CLOCKTYPE_PCLK2
                              |RCC_CLOCKTYPE_D3PCLK1|RCC_CLOCKTYPE_D1PCLK1;
  RCC_ClkInitStruct.SYSCLKSource = RCC_SYSCLKSOURCE_HSI;
  RCC_ClkInitStruct.SYSCLKDivider = RCC_SYSCLK_DIV1;
  RCC_ClkInitStruct.AHBCLKDivider = RCC_HCLK_DIV1;
  RCC_ClkInitStruct.APB3CLKDivider = RCC_APB3_DIV2;
  RCC_ClkInitStruct.APB1CLKDivider = RCC_APB1_DIV2;
  RCC_ClkInitStruct.APB2CLKDivider = RCC_APB2_DIV2;
  RCC_ClkInitStruct.APB4CLKDivider = RCC_APB4_DIV2;

  if (HAL_RCC_ClockConfig(&RCC_ClkInitStruct, FLASH_LATENCY_2) != HAL_OK)
  {
    Error_Handler();
  }
}

static void MX_ADC2_Init(void)
{

  ADC_ChannelConfTypeDef sConfig = {0};

  /** Common config
  */
  hadc2.Instance = ADC2;
  hadc2.Init.ClockPrescaler = ADC_CLOCK_ASYNC_DIV1;
  hadc2.Init.Resolution = ADC_RESOLUTION_16B;
  hadc2.Init.ScanConvMode = ADC_SCAN_DISABLE;
  hadc2.Init.EOCSelection = ADC_EOC_SINGLE_CONV;
  hadc2.Init.LowPowerAutoWait = DISABLE;
  hadc2.Init.ContinuousConvMode = DISABLE;
  hadc2.Init.NbrOfConversion = 1;
  hadc2.Init.DiscontinuousConvMode = DISABLE;
  hadc2.Init.ExternalTrigConv = ADC_SOFTWARE_START;
  hadc2.Init.ExternalTrigConvEdge = ADC_EXTERNALTRIGCONVEDGE_NONE;
  hadc2.Init.ConversionDataManagement = ADC_CONVERSIONDATA_DR;
  hadc2.Init.Overrun = ADC_OVR_DATA_PRESERVED;
  hadc2.Init.LeftBitShift = ADC_LEFTBITSHIFT_NONE;
  hadc2.Init.OversamplingMode = DISABLE;
  if (HAL_ADC_Init(&hadc2) != HAL_OK)
  {
    Error_Handler();
  }
  /** Configure Regular Channel
  */
  sConfig.Channel = ADC_CHANNEL_0;
  sConfig.Rank = ADC_REGULAR_RANK_1;
  sConfig.SamplingTime = ADC_SAMPLETIME_1CYCLE_5;
  sConfig.SingleDiff = ADC_SINGLE_ENDED;
  sConfig.OffsetNumber = ADC_OFFSET_NONE;
  sConfig.Offset = 0;
  sConfig.OffsetSignedSaturation = DISABLE;
  if (HAL_ADC_ConfigChannel(&hadc2, &sConfig) != HAL_OK)
  {
    Error_Handler();
  }

}

static void MX_SPI2_Init(void)
{

  /* SPI2 parameter configuration*/
  hspi2.Instance = SPI2;
  hspi2.Init.Mode = SPI_MODE_MASTER;
  hspi2.Init.Direction = SPI_DIRECTION_2LINES;
  hspi2.Init.DataSize = SPI_DATASIZE_15BIT;
  hspi2.Init.CLKPolarity = SPI_POLARITY_LOW;
  hspi2.Init.CLKPhase = SPI_PHASE_1EDGE;
  hspi2.Init.NSS = SPI_NSS_SOFT;
  hspi2.Init.BaudRatePrescaler = SPI_BAUDRATEPRESCALER_256;
  hspi2.Init.FirstBit = SPI_FIRSTBIT_MSB;
  hspi2.Init.TIMode = SPI_TIMODE_DISABLE;
  hspi2.Init.CRCCalculation = SPI_CRCCALCULATION_DISABLE;
  hspi2.Init.CRCPolynomial = 0x0;
  hspi2.Init.NSSPMode = SPI_NSS_PULSE_ENABLE;
  hspi2.Init.NSSPolarity = SPI_NSS_POLARITY_LOW;
  hspi2.Init.FifoThreshold = SPI_FIFO_THRESHOLD_01DATA;
  hspi2.Init.TxCRCInitializationPattern = SPI_CRC_INITIALIZATION_ALL_ZERO_PATTERN;
  hspi2.Init.RxCRCInitializationPattern = SPI_CRC_INITIALIZATION_ALL_ZERO_PATTERN;
  hspi2.Init.MasterSSIdleness = SPI_MASTER_SS_IDLENESS_00CYCLE;
  hspi2.Init.MasterInterDataIdleness = SPI_MASTER_INTERDATA_IDLENESS_00CYCLE;
  hspi2.Init.MasterReceiverAutoSusp = SPI_MASTER_RX_AUTOSUSP_DISABLE;
  hspi2.Init.MasterKeepIOState = SPI_MASTER_KEEP_IO_STATE_DISABLE;
  hspi2.Init.IOSwap = SPI_IO_SWAP_DISABLE;
  if (HAL_SPI_Init(&hspi2) != HAL_OK)
  {
    Error_Handler();
  }

}

static void MX_TIM1_Init(void)
{

  TIM_MasterConfigTypeDef sMasterConfig = {0};
  TIM_OC_InitTypeDef sConfigOC = {0};
  TIM_BreakDeadTimeConfigTypeDef sBreakDeadTimeConfig = {0};

  htim1.Instance = TIM1;
  htim1.Init.Prescaler = 0;
  htim1.Init.CounterMode = TIM_COUNTERMODE_UP;
  htim1.Init.Period = 32;
  htim1.Init.ClockDivision = TIM_CLOCKDIVISION_DIV1;
  htim1.Init.RepetitionCounter = 0;
  htim1.Init.AutoReloadPreload = TIM_AUTORELOAD_PRELOAD_DISABLE;
  if (HAL_TIM_PWM_Init(&htim1) != HAL_OK)
  {
    Error_Handler();
  }
  sMasterConfig.MasterOutputTrigger = TIM_TRGO_RESET;
  sMasterConfig.MasterOutputTrigger2 = TIM_TRGO2_RESET;
  sMasterConfig.MasterSlaveMode = TIM_MASTERSLAVEMODE_DISABLE;
  if (HAL_TIMEx_MasterConfigSynchronization(&htim1, &sMasterConfig) != HAL_OK)
  {
    Error_Handler();
  }
  sConfigOC.OCMode = TIM_OCMODE_PWM1;
  sConfigOC.Pulse = 16;
  sConfigOC.OCPolarity = TIM_OCPOLARITY_HIGH;
  sConfigOC.OCFastMode = TIM_OCFAST_DISABLE;
  sConfigOC.OCIdleState = TIM_OCIDLESTATE_RESET;
  sConfigOC.OCNIdleState = TIM_OCNIDLESTATE_RESET;
  if (HAL_TIM_PWM_ConfigChannel(&htim1, &sConfigOC, TIM_CHANNEL_4) != HAL_OK)
  {
    Error_Handler();
  }
  sBreakDeadTimeConfig.OffStateRunMode = TIM_OSSR_DISABLE;
  sBreakDeadTimeConfig.OffStateIDLEMode = TIM_OSSI_DISABLE;
  sBreakDeadTimeConfig.LockLevel = TIM_LOCKLEVEL_OFF;
  sBreakDeadTimeConfig.DeadTime = 0;
  sBreakDeadTimeConfig.BreakState = TIM_BREAK_DISABLE;
  sBreakDeadTimeConfig.BreakPolarity = TIM_BREAKPOLARITY_HIGH;
  sBreakDeadTimeConfig.BreakFilter = 0;
  sBreakDeadTimeConfig.Break2State = TIM_BREAK2_DISABLE;
  sBreakDeadTimeConfig.Break2Polarity = TIM_BREAK2POLARITY_HIGH;
  sBreakDeadTimeConfig.Break2Filter = 0;
  sBreakDeadTimeConfig.AutomaticOutput = TIM_AUTOMATICOUTPUT_DISABLE;
  if (HAL_TIMEx_ConfigBreakDeadTime(&htim1, &sBreakDeadTimeConfig) != HAL_OK)
  {
    Error_Handler();
  }
  HAL_TIM_MspPostInit(&htim1);

}

static void MX_TIM2_Init(void)
{

  TIM_MasterConfigTypeDef sMasterConfig = {0};
  TIM_OC_InitTypeDef sConfigOC = {0};

  htim2.Instance = TIM2;
  htim2.Init.Prescaler = 0;
  htim2.Init.CounterMode = TIM_COUNTERMODE_UP;
  htim2.Init.Period = 4000;
  htim2.Init.ClockDivision = TIM_CLOCKDIVISION_DIV1;
  htim2.Init.AutoReloadPreload = TIM_AUTORELOAD_PRELOAD_DISABLE;
  if (HAL_TIM_PWM_Init(&htim2) != HAL_OK)
  {
    Error_Handler();
  }
  sMasterConfig.MasterOutputTrigger = TIM_TRGO_RESET;
  sMasterConfig.MasterSlaveMode = TIM_MASTERSLAVEMODE_DISABLE;
  if (HAL_TIMEx_MasterConfigSynchronization(&htim2, &sMasterConfig) != HAL_OK)
  {
    Error_Handler();
  }
  sConfigOC.OCMode = TIM_OCMODE_PWM1;
  sConfigOC.Pulse = 100;
  sConfigOC.OCPolarity = TIM_OCPOLARITY_HIGH;
  sConfigOC.OCFastMode = TIM_OCFAST_DISABLE;
  if (HAL_TIM_PWM_ConfigChannel(&htim2, &sConfigOC, TIM_CHANNEL_1) != HAL_OK)
  {
    Error_Handler();
  }
  HAL_TIM_MspPostInit(&htim2);

}

static void MX_TIM3_Init(void)
{

  TIM_MasterConfigTypeDef sMasterConfig = {0};
  TIM_IC_InitTypeDef sConfigIC = {0};

  htim3.Instance = TIM3;
  htim3.Init.Prescaler = 0;
  htim3.Init.CounterMode = TIM_COUNTERMODE_UP;
  htim3.Init.Period = 65535;
  htim3.Init.ClockDivision = TIM_CLOCKDIVISION_DIV1;
  htim3.Init.AutoReloadPreload = TIM_AUTORELOAD_PRELOAD_DISABLE;
  if (HAL_TIM_IC_Init(&htim3) != HAL_OK)
  {
    Error_Handler();
  }
  sMasterConfig.MasterOutputTrigger = TIM_TRGO_RESET;
  sMasterConfig.MasterSlaveMode = TIM_MASTERSLAVEMODE_DISABLE;
  if (HAL_TIMEx_MasterConfigSynchronization(&htim3, &sMasterConfig) != HAL_OK)
  {
    Error_Handler();
  }
  sConfigIC.ICPolarity = TIM_INPUTCHANNELPOLARITY_RISING;
  sConfigIC.ICSelection = TIM_ICSELECTION_DIRECTTI;
  sConfigIC.ICPrescaler = TIM_ICPSC_DIV1;
  sConfigIC.ICFilter = 0;
  if (HAL_TIM_IC_ConfigChannel(&htim3, &sConfigIC, TIM_CHANNEL_1) != HAL_OK)
  {
    Error_Handler();
  }
  if (HAL_TIM_IC_ConfigChannel(&htim3, &sConfigIC, TIM_CHANNEL_2) != HAL_OK)
  {
    Error_Handler();
  }
  if (HAL_TIM_IC_ConfigChannel(&htim3, &sConfigIC, TIM_CHANNEL_3) != HAL_OK)
  {
    Error_Handler();
  }
  if (HAL_TIM_IC_ConfigChannel(&htim3, &sConfigIC, TIM_CHANNEL_4) != HAL_OK)
  {
    Error_Handler();
  }

}

static void MX_TIM4_Init(void)
{

  TIM_MasterConfigTypeDef sMasterConfig = {0};
  TIM_IC_InitTypeDef sConfigIC = {0};

  htim4.Instance = TIM4;
  htim4.Init.Prescaler = 0;
  htim4.Init.CounterMode = TIM_COUNTERMODE_UP;
  htim4.Init.Period = 65535;
  htim4.Init.ClockDivision = TIM_CLOCKDIVISION_DIV1;
  htim4.Init.AutoReloadPreload = TIM_AUTORELOAD_PRELOAD_DISABLE;
  if (HAL_TIM_IC_Init(&htim4) != HAL_OK)
  {
    Error_Handler();
  }
  sMasterConfig.MasterOutputTrigger = TIM_TRGO_RESET;
  sMasterConfig.MasterSlaveMode = TIM_MASTERSLAVEMODE_DISABLE;
  if (HAL_TIMEx_MasterConfigSynchronization(&htim4, &sMasterConfig) != HAL_OK)
  {
    Error_Handler();
  }
  sConfigIC.ICPolarity = TIM_INPUTCHANNELPOLARITY_RISING;
  sConfigIC.ICSelection = TIM_ICSELECTION_DIRECTTI;
  sConfigIC.ICPrescaler = TIM_ICPSC_DIV1;
  sConfigIC.ICFilter = 0;
  if (HAL_TIM_IC_ConfigChannel(&htim4, &sConfigIC, TIM_CHANNEL_1) != HAL_OK)
  {
    Error_Handler();
  }
  if (HAL_TIM_IC_ConfigChannel(&htim4, &sConfigIC, TIM_CHANNEL_2) != HAL_OK)
  {
    Error_Handler();
  }
  if (HAL_TIM_IC_ConfigChannel(&htim4, &sConfigIC, TIM_CHANNEL_3) != HAL_OK)
  {
    Error_Handler();
  }
  if (HAL_TIM_IC_ConfigChannel(&htim4, &sConfigIC, TIM_CHANNEL_4) != HAL_OK)
  {
    Error_Handler();
  }

}

static void MX_TIM6_Init(void)
{

  TIM_MasterConfigTypeDef sMasterConfig = {0};

  htim6.Instance = TIM6;
  htim6.Init.Prescaler = 0;
  htim6.Init.CounterMode = TIM_COUNTERMODE_UP;
  htim6.Init.Period = 65535;
  htim6.Init.AutoReloadPreload = TIM_AUTORELOAD_PRELOAD_DISABLE;
  if (HAL_TIM_Base_Init(&htim6) != HAL_OK)
  {
    Error_Handler();
  }
  sMasterConfig.MasterOutputTrigger = TIM_TRGO_RESET;
  sMasterConfig.MasterSlaveMode = TIM_MASTERSLAVEMODE_DISABLE;
  if (HAL_TIMEx_MasterConfigSynchronization(&htim6, &sMasterConfig) != HAL_OK)
  {
    Error_Handler();
  }

}

static void MX_USART1_UART_Init(void)
{

  huart1.Instance = USART1;
  huart1.Init.BaudRate = 115200;
  huart1.Init.WordLength = UART_WORDLENGTH_8B;
  huart1.Init.StopBits = UART_STOPBITS_1;
  huart1.Init.Parity = UART_PARITY_NONE;
  huart1.Init.Mode = UART_MODE_TX_RX;
  huart1.Init.HwFlowCtl = UART_HWCONTROL_NONE;
  huart1.Init.OverSampling = UART_OVERSAMPLING_16;
  huart1.Init.OneBitSampling = UART_ONE_BIT_SAMPLE_DISABLE;
  huart1.Init.ClockPrescaler = UART_PRESCALER_DIV1;
  huart1.AdvancedInit.AdvFeatureInit = UART_ADVFEATURE_NO_INIT;
  if (HAL_UART_Init(&huart1) != HAL_OK)
  {
    Error_Handler();
  }
  if (HAL_UARTEx_SetTxFifoThreshold(&huart1, UART_TXFIFO_THRESHOLD_8_8) != HAL_OK)
  {
    Error_Handler();
  }
  if (HAL_UARTEx_SetRxFifoThreshold(&huart1, UART_RXFIFO_THRESHOLD_8_8) != HAL_OK)
  {
    Error_Handler();
  }
  if (HAL_UARTEx_EnableFifoMode(&huart1) != HAL_OK)
  {
    Error_Handler();
  }

}

static void MX_USART3_UART_Init(void)
{

  huart3.Instance = USART3;
  huart3.Init.BaudRate = 115200;
  huart3.Init.WordLength = UART_WORDLENGTH_8B;
  huart3.Init.StopBits = UART_STOPBITS_1;
  huart3.Init.Parity = UART_PARITY_NONE;
  huart3.Init.Mode = UART_MODE_TX_RX;
  huart3.Init.HwFlowCtl = UART_HWCONTROL_NONE;
  huart3.Init.OverSampling = UART_OVERSAMPLING_16;
  huart3.Init.OneBitSampling = UART_ONE_BIT_SAMPLE_DISABLE;
  huart3.Init.ClockPrescaler = UART_PRESCALER_DIV1;
  huart3.AdvancedInit.AdvFeatureInit = UART_ADVFEATURE_NO_INIT;
  if (HAL_UART_Init(&huart3) != HAL_OK)
  {
    Error_Handler();
  }
  if (HAL_UARTEx_SetTxFifoThreshold(&huart3, UART_TXFIFO_THRESHOLD_1_8) != HAL_OK)
  {
    Error_Handler();
  }
  if (HAL_UARTEx_SetRxFifoThreshold(&huart3, UART_RXFIFO_THRESHOLD_1_8) != HAL_OK)
  {
    Error_Handler();
  }
  if (HAL_UARTEx_DisableFifoMode(&huart3) != HAL_OK)
  {
    Error_Handler();
  }

}

static void MX_GPIO_Init(void)
{
  GPIO_InitTypeDef GPIO_InitStruct = {0};

  /* GPIO Ports Clock Enable */
  __HAL_RCC_GPIOE_CLK_ENABLE();
  __HAL_RCC_GPIOC_CLK_ENABLE();
  __HAL_RCC_GPIOA_CLK_ENABLE();
  __HAL_RCC_GPIOB_CLK_ENABLE();
  __HAL_RCC_GPIOF_CLK_ENABLE();
  __HAL_RCC_GPIOD_CLK_ENABLE();

  /*Configure GPIO pin Output Level */
  HAL_GPIO_WritePin(GPIOB, GPIO_PIN_2|GPIO_PIN_8, GPIO_PIN_RESET);

  /*Configure GPIO pin Output Level */
  HAL_GPIO_WritePin(GPIOE, GPIO_PIN_15, GPIO_PIN_RESET);

  /*Configure GPIO pin Output Level */
  HAL_GPIO_WritePin(GPIOD, GPIO_PIN_5|GPIO_PIN_6, GPIO_PIN_RESET);

  /*Configure GPIO pins : PE2 PE3 PE4 PE5
                           PE6 PE7 PE8 PE9
                           PE10 PE11 PE12 PE0
                           PE1 */
  GPIO_InitStruct.Pin = GPIO_PIN_2|GPIO_PIN_3|GPIO_PIN_4|GPIO_PIN_5
                          |GPIO_PIN_6|GPIO_PIN_7|GPIO_PIN_8|GPIO_PIN_9
                          |GPIO_PIN_10|GPIO_PIN_11|GPIO_PIN_12|GPIO_PIN_0
                          |GPIO_PIN_1;
  GPIO_InitStruct.Mode = GPIO_MODE_INPUT;
  GPIO_InitStruct.Pull = GPIO_NOPULL;
  HAL_GPIO_Init(GPIOE, &GPIO_InitStruct);

  /*Configure GPIO pins : PA3 PA4 PA5 PA8
                           PA10 PA11 */
  GPIO_InitStruct.Pin = GPIO_PIN_3|GPIO_PIN_4|GPIO_PIN_5|GPIO_PIN_8
                          |GPIO_PIN_10|GPIO_PIN_11;
  GPIO_InitStruct.Mode = GPIO_MODE_INPUT;
  GPIO_InitStruct.Pull = GPIO_NOPULL;
  HAL_GPIO_Init(GPIOA, &GPIO_InitStruct);

  /*Configure GPIO pins : PB2 PB8 */
  GPIO_InitStruct.Pin = GPIO_PIN_2|GPIO_PIN_8;
  GPIO_InitStruct.Mode = GPIO_MODE_OUTPUT_PP;
  GPIO_InitStruct.Pull = GPIO_NOPULL;
  GPIO_InitStruct.Speed = GPIO_SPEED_FREQ_LOW;
  HAL_GPIO_Init(GPIOB, &GPIO_InitStruct);

  /*Configure GPIO pin : PE15 */
  GPIO_InitStruct.Pin = GPIO_PIN_15;
  GPIO_InitStruct.Mode = GPIO_MODE_OUTPUT_PP;
  GPIO_InitStruct.Pull = GPIO_NOPULL;
  GPIO_InitStruct.Speed = GPIO_SPEED_FREQ_LOW;
  HAL_GPIO_Init(GPIOE, &GPIO_InitStruct);

  /*Configure GPIO pin : PC12 */
  GPIO_InitStruct.Pin = GPIO_PIN_12;
  GPIO_InitStruct.Mode = GPIO_MODE_INPUT;
  GPIO_InitStruct.Pull = GPIO_NOPULL;
  HAL_GPIO_Init(GPIOC, &GPIO_InitStruct);

  /*Configure GPIO pins : PD3 PD4 */
  GPIO_InitStruct.Pin = GPIO_PIN_3|GPIO_PIN_4;
  GPIO_InitStruct.Mode = GPIO_MODE_INPUT;
  GPIO_InitStruct.Pull = GPIO_NOPULL;
  HAL_GPIO_Init(GPIOD, &GPIO_InitStruct);

  /*Configure GPIO pins : PD5 PD6 */
  GPIO_InitStruct.Pin = GPIO_PIN_5|GPIO_PIN_6;
  GPIO_InitStruct.Mode = GPIO_MODE_OUTPUT_PP;
  GPIO_InitStruct.Pull = GPIO_NOPULL;
  GPIO_InitStruct.Speed = GPIO_SPEED_FREQ_LOW;
  HAL_GPIO_Init(GPIOD, &GPIO_InitStruct);

  /*Configure GPIO pins : PB3 PB4 PB5 PB6
                           PB7 */
  GPIO_InitStruct.Pin = GPIO_PIN_3|GPIO_PIN_4|GPIO_PIN_5|GPIO_PIN_6
                          |GPIO_PIN_7;
  GPIO_InitStruct.Mode = GPIO_MODE_INPUT;
  GPIO_InitStruct.Pull = GPIO_NOPULL;
  HAL_GPIO_Init(GPIOB, &GPIO_InitStruct);

}

void Error_Handler(void)
{
  __disable_irq();
  while (1)
  {
  }
}

/************************ (C) COPYRIGHT STMicroelectronics *****END OF FILE****/
